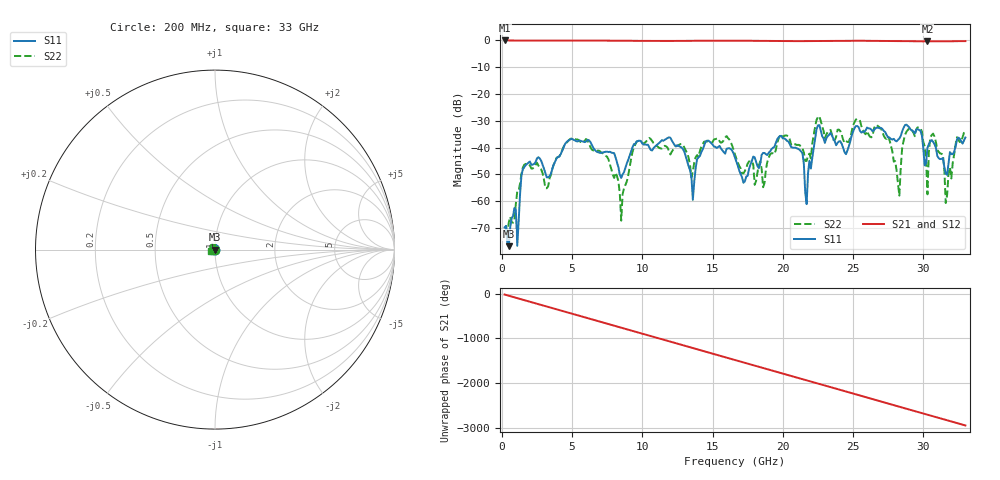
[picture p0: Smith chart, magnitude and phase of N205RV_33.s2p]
# GHZ S RI R 50
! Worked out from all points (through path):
!   329 points, 200 MHz to 33 GHz, reference 50 ohm
!   highest |S21| = -0.02 dB at 200 MHz (marker M1); lowest = -0.4 dB at 30.3 GHz (marker M2)
!   group delay of S21, straight-line fit = 248 ps
!   lowest |S11| = -76.8 dB at 500 MHz (marker M3), VSWR 1.00, Z = 50 - j0.00535 ohm
!   |S11| at or under -10 dB: start of sweep to end of sweep
!   |S22| runs from -72.7 to -28.3 dB; largest |S21 - S12| = 0.0019
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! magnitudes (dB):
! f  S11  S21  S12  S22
! 200 MHz  -69.8  0.0  0.0  -70.3
! 500 MHz  -76.8  0.0  0.0  -67.8
! 1.7 GHz  -46.6  -0.1  -0.1  -46.1
! 5.7 GHz  -37.7  -0.1  -0.1  -37.9
! 8.5 GHz  -51.3  -0.1  -0.1  -67.3
! 9.6 GHz  -37.7  -0.2  -0.2  -37.8
! 11.2 GHz  -38.3  -0.2  -0.2  -40.1
! 13.6 GHz  -59.5  -0.2  -0.2  -49.0
! 14.5 GHz  -37.9  -0.1  -0.1  -37.7
! 16.6 GHz  -43.7  -0.1  -0.1  -42.7
! 18.6 GHz  -42.0  -0.2  -0.2  -54.8
! 19.9 GHz  -35.6  -0.3  -0.3  -35.2
! 21.7 GHz  -61.1  -0.3  -0.3  -45.0
! 22.1 GHz  -43.9  -0.3  -0.3  -38.5
! 27.6 GHz  -36.3  -0.2  -0.2  -37.3
! 28.3 GHz  -36.6  -0.3  -0.3  -58.0
! 28.7 GHz  -31.6  -0.3  -0.3  -35.3
! 29.8 GHz  -33.7  -0.3  -0.3  -32.8
! 30.3 GHz  -40.1  -0.4  -0.4  -57.5
! 30.5 GHz  -37.8  -0.3  -0.3  -36.2
! 31.6 GHz  -49.8  -0.3  -0.3  -60.7
! 33 GHz  -36.3  -0.3  -0.3  -33.6
